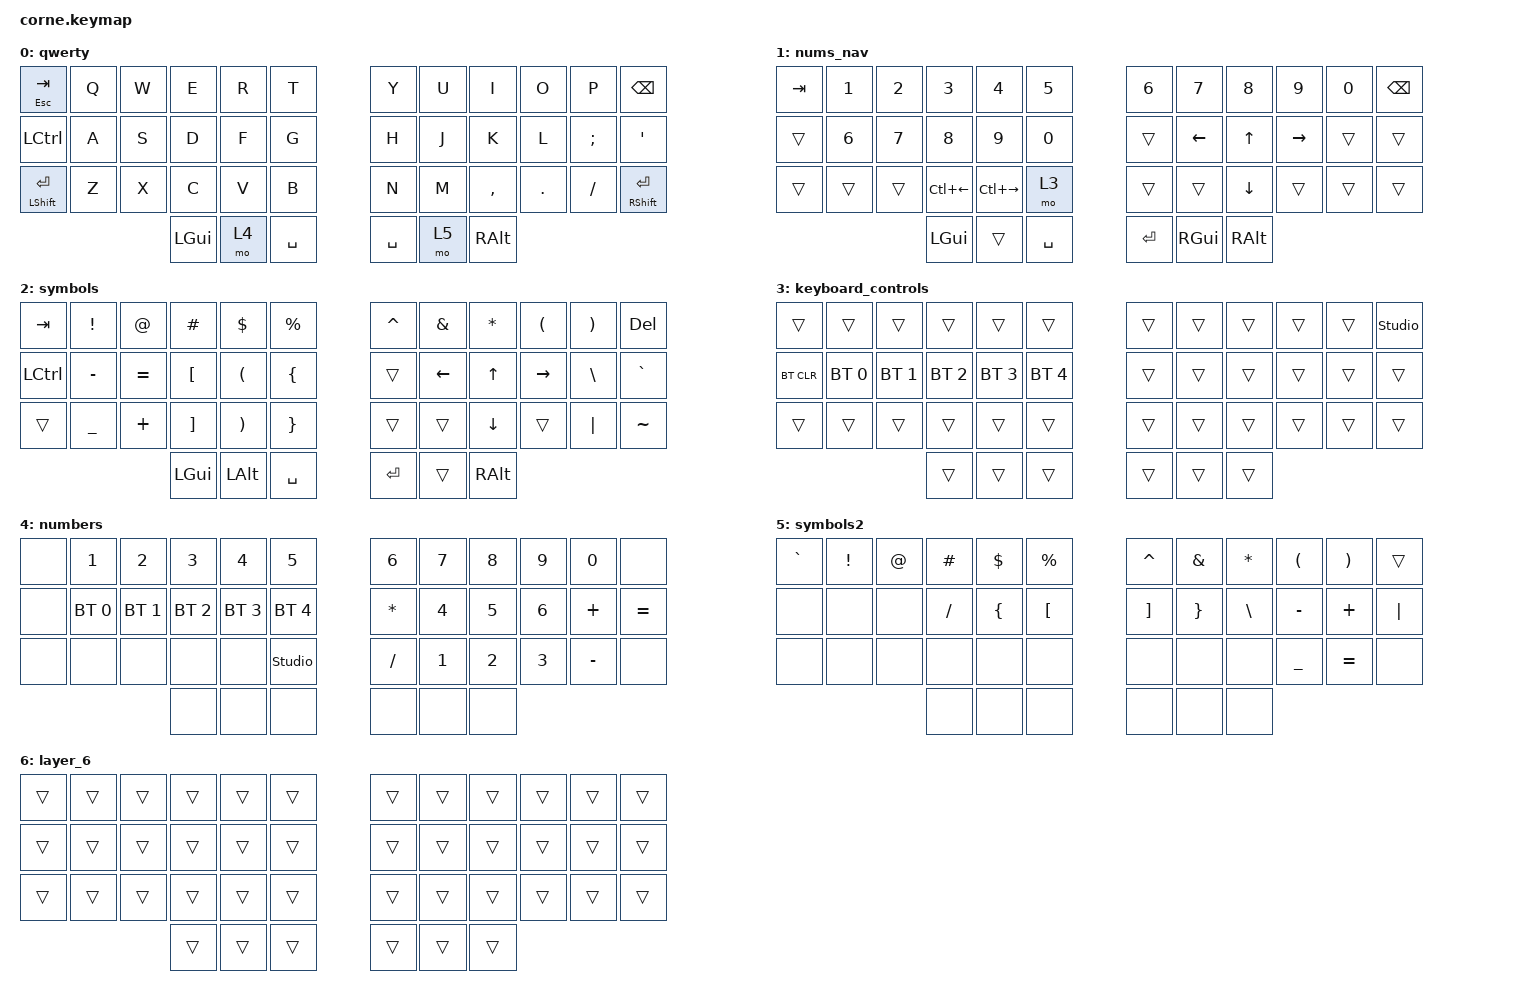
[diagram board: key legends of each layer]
/*
 * Copyright (c) 2020 The ZMK Contributors
 *
 * SPDX-License-Identifier: MIT
 */

#include <behaviors.dtsi>
#include <dt-bindings/zmk/bt.h>
#include <dt-bindings/zmk/keys.h>

/ {
    behaviors {
        td_caps_lock: td_caps_lock {
            compatible = "zmk,behavior-tap-dance";
            label = "TD_CAPS_LOCK";
            #binding-cells = <0>;
            bindings = <&kp LEFT_SHIFT>, <&kp CAPSLOCK>;
        };
    };

    keymap {
        compatible = "zmk,keymap";

        qwerty {
            // -----------------------------------------------------------------------------------------
            // |  TAB |  Q  |  W  |  E  |  R  |  T  |   |  Y  |  U   |  I  |  O  |  P  | BKSP |
            // | CTRL |  A  |  S  |  D  |  F  |  G  |   |  H  |  J   |  K  |  L  |  ;  |  '   |
            // | SHFT |  Z  |  X  |  C  |  V  |  B  |   |  N  |  M   |  ,  |  .  |  /  | ESC  |
            //                    | GUI | LWR | SPC |   | ENT | RSE  | ALT |

            bindings = <
&mt ESC TAB           &kp Q  &kp W  &kp E     &kp R  &kp T        &kp Y      &kp U  &kp I      &kp O    &kp P     &kp BSPC
&kp LCTRL             &kp A  &kp S  &kp D     &kp F  &kp G        &kp H      &kp J  &kp K      &kp L    &kp SEMI  &kp SQT
&mt LEFT_SHIFT ENTER  &kp Z  &kp X  &kp C     &kp V  &kp B        &kp N      &kp M  &kp COMMA  &kp DOT  &kp FSLH  &mt RIGHT_SHIFT ENTER
                                    &kp LGUI  &mo 4  &kp SPACE    &kp SPACE  &mo 5  &kp RALT
            >;
        };

        nums_nav {
            // -----------------------------------------------------------------------------------------
            // |  TAB |  1  |  2  |  3  |  4  |  5  |   |  6  |  7  |  8  |  9  |  0  | BKSP |
            // | BTCLR| BT1 | BT2 | BT3 | BT4 | BT5 |   | LFT | DWN |  UP | RGT |     |      |
            // | SHFT |     |     |     |     |     |   |     |     |     |     |     |      |
            //                    | GUI |     | SPC |   | ENT |     | ALT |

            bindings = <
&kp TAB  &kp N1        &kp N2        &kp N3              &kp N4               &kp N5          &kp NUMBER_6  &kp NUMBER_7    &kp NUMBER_8  &kp NUMBER_9  &kp NUMBER_0  &kp BSPC
&trans   &kp NUMBER_6  &kp NUMBER_7  &kp NUMBER_8        &kp NUMBER_9         &kp NUMBER_0    &trans        &kp LEFT_ARROW  &kp UP_ARROW  &kp RIGHT     &trans        &trans
&trans   &trans        &trans        &kp LC(LEFT_ARROW)  &kp LC(RIGHT_ARROW)  &mo 3           &trans        &trans          &kp DOWN      &trans        &trans        &trans
                                     &kp LGUI            &trans               &kp SPACE       &kp RET       &kp RIGHT_GUI   &kp RALT
            >;
        };

        symbols {
            // -----------------------------------------------------------------------------------------
            // |  TAB |  !  |  @  |  #  |  $  |  %  |   |  ^  |  &  |  *  |  (  |  )  | BKSP |
            // | CTRL |     |     |     |     |     |   |  -  |  =  |  [  |  ]  |  \  |  `   |
            // | SHFT |     |     |     |     |     |   |  _  |  +  |  {  |  }  | "|" |  ~   |
            //                    | GUI |     | SPC |   | ENT |     | ALT |

            bindings = <
&kp TAB    &kp EXCL        &kp AT     &kp HASH           &kp DLLR               &kp PRCNT          &kp CARET  &kp AMPS        &kp ASTRK       &kp LPAR         &kp RPAR  &kp DELETE
&kp LCTRL  &kp MINUS       &kp EQUAL  &kp LEFT_BRACKET   &kp LEFT_PARENTHESIS   &kp LEFT_BRACE     &trans     &kp LEFT_ARROW  &kp UP_ARROW    &kp RIGHT_ARROW  &kp BSLH  &kp GRAVE
&trans     &kp UNDERSCORE  &kp PLUS   &kp RIGHT_BRACKET  &kp RIGHT_PARENTHESIS  &kp RIGHT_BRACE    &trans     &trans          &kp DOWN_ARROW  &trans           &kp PIPE  &kp TILDE
                                      &kp LGUI           &kp LEFT_ALT           &kp SPACE          &kp RET    &trans          &kp RALT
            >;
        };

        keyboard_controls {
            bindings = <
&trans      &trans        &trans        &trans        &trans        &trans          &trans  &trans  &trans  &trans  &trans  &studio_unlock
&bt BT_CLR  &bt BT_SEL 0  &bt BT_SEL 1  &bt BT_SEL 2  &bt BT_SEL 3  &bt BT_SEL 4    &trans  &trans  &trans  &trans  &trans  &trans
&trans      &trans        &trans        &trans        &trans        &trans          &trans  &trans  &trans  &trans  &trans  &trans
                                        &trans        &trans        &trans          &trans  &trans  &trans
            >;
        };

        numbers {
            bindings = <
&none  &kp N1        &kp N2        &kp N3        &kp N4        &kp N5            &kp N6     &kp N7  &kp N8  &kp N9  &kp N0     &none
&none  &bt BT_SEL 0  &bt BT_SEL 1  &bt BT_SEL 2  &bt BT_SEL 3  &bt BT_SEL 4      &kp STAR   &kp N4  &kp N5  &kp N6  &kp PLUS   &kp EQUAL
&none  &none         &none         &none         &none         &studio_unlock    &kp SLASH  &kp N1  &kp N2  &kp N3  &kp MINUS  &none
                                   &none         &none         &none             &none      &none   &none
            >;
        };

        symbols2 {
            bindings = <
&kp GRAVE  &kp EXCLAMATION  &kp AT_SIGN  &kp POUND  &kp DOLLAR      &kp PERCENT    &kp CARET  &kp AMPERSAND    &kp STAR       &kp LEFT_PARENTHESIS  &kp RIGHT_PARENTHESIS  &trans
&none      &none            &none        &kp SLASH  &kp LEFT_BRACE  &kp LBKT       &kp RBKT   &kp RIGHT_BRACE  &kp BACKSLASH  &kp MINUS             &kp PLUS               &kp PIPE
&none      &none            &none        &none      &none           &none          &none      &none            &none          &kp UNDERSCORE        &kp EQUAL              &none
                                         &none      &none           &none          &none      &none            &none
            >;
        };

        layer_6 {
            bindings = <
&trans  &trans  &trans  &trans  &trans  &trans    &trans  &trans  &trans  &trans  &trans  &trans
&trans  &trans  &trans  &trans  &trans  &trans    &trans  &trans  &trans  &trans  &trans  &trans
&trans  &trans  &trans  &trans  &trans  &trans    &trans  &trans  &trans  &trans  &trans  &trans
                        &trans  &trans  &trans    &trans  &trans  &trans
            >;
        };
    };
};
